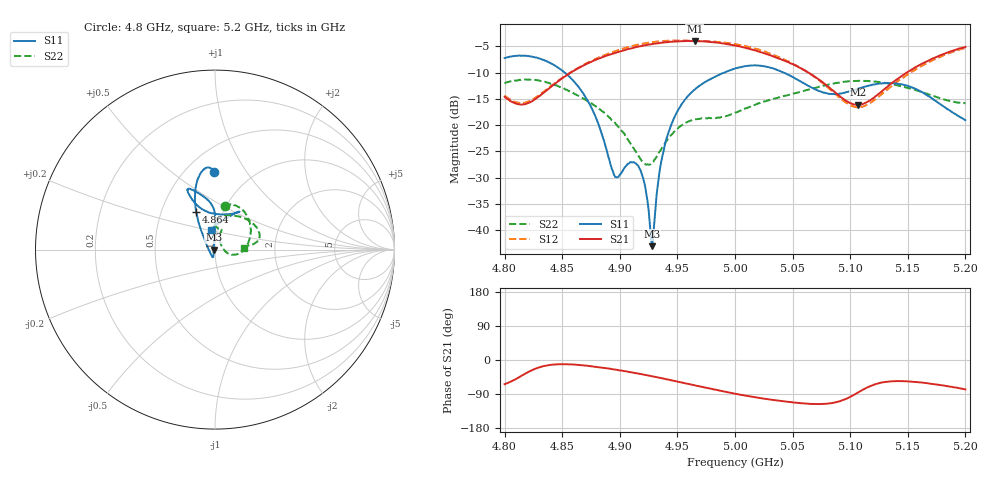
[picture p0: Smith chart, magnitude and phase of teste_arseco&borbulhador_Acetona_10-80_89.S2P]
! Network Analyzer HP8722D
! Hewlett-Packard
! Data name: Linha & Wilkinson
! Saver's name: Rodrigo Anjos
! Comments: Teste da utilização de aquisição
! continua pelo VNA HP8722D
! Time and date: 25/4/2025 16:00
!  Frequency  S11  S21  S12  S22
# HZ  S  MA R 50
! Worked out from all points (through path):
!   401 points, 4.8 GHz to 5.2 GHz, reference 50 ohm
!   highest |S21| = -3.98 dB at 4.965 GHz (marker M1); lowest = -16.1 dB at 5.107 GHz (marker M2)
!   lowest |S11| = -43.0 dB at 4.928 GHz (marker M3), VSWR 1.01, Z = 49.3 - j0.0872 ohm
!   |S11| at or under -10 dB: 4.852 GHz to 4.991 GHz (138.4 MHz wide, 2.81 % of centre); 5.042 GHz to end of sweep
!   |S22| runs from -27.5 to -11.3 dB; largest |S21 - S12| = 1.2
!   S11 on the Smith chart (normalised r, x): 4.8 GHz: 0.68, +0.72; 4.864 GHz: 0.75, +0.33; 5.2 GHz: 0.94, +0.21
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4.8e9  0.4348 90.8  0.1857 -63.9  0.1911 69.6  0.2487 77.7
4.82e9  0.4541 96.9  0.1617 -32.4  0.1667 98.3  0.2707 61.8
4.864e9  0.2326 116.7  0.3485 -12.9  0.352 121.0  0.1898 12.1
4.867e9  0.2092 118.3  0.3629 -13.8  0.3674 120.7  0.1825 8.7
4.88e9  0.1122 128.4  0.4227 -18.3  0.4326 118.3  0.1489 -4.9
4.896e9  0.03217 -166.4  0.4879 -25.4  0.507 113.3  0.1045 -15.8
4.91e9  0.04431 -106.9  0.5374 -32.5  0.5647 107.2  0.06503 -13.6
4.917e9  0.03884 -103.8  0.562 -36.3  0.5885 103.6  0.04956 -1.2
4.922e9  0.02611 -107.1  0.5753 -39.2  0.6015 100.8  0.04268 16.0
4.928e9  0.007054 -172.8  0.5915 -42.9  0.6158 97.2  0.04418 40.8
4.93e9  0.01204 124.2  0.5964 -44.2  0.6192 95.9  0.04681 47.6
4.934e9  0.03289 99.4  0.6029 -46.6  0.6276 93.4  0.05511 58.1
4.939e9  0.06395 93.2  0.6146 -49.6  0.6348 90.1  0.06649 65.3
4.946e9  0.1097 90.0  0.6224 -54.4  0.6367 85.7  0.08356 70.3
4.965e9  0.2183 91.0  0.6326 -66.8  0.6376 73.5  0.1133 71.5
5e9  0.346 109.1  0.5731 -89.0  0.5911 50.9  0.1313 88.6
5.029e9  0.3568 115.2  0.4696 -103.8  0.4861 34.3  0.1726 85.8
5.067e9  0.2267 105.3  0.301 -115.9  0.2984 23.6  0.2223 57.2
5.107e9  0.2224 64.1  0.1561 -85.4  0.148 57.7  0.264 24.3
5.134e9  0.2512 57.3  0.2406 -56.8  0.2262 88.6  0.2482 12.4
5.169e9  0.1859 70.1  0.4171 -61.9  0.4016 84.8  0.1949 6.9
5.2e9  0.1117 100.6  0.5551 -77.5  0.5446 70.2  0.1615 3.8
